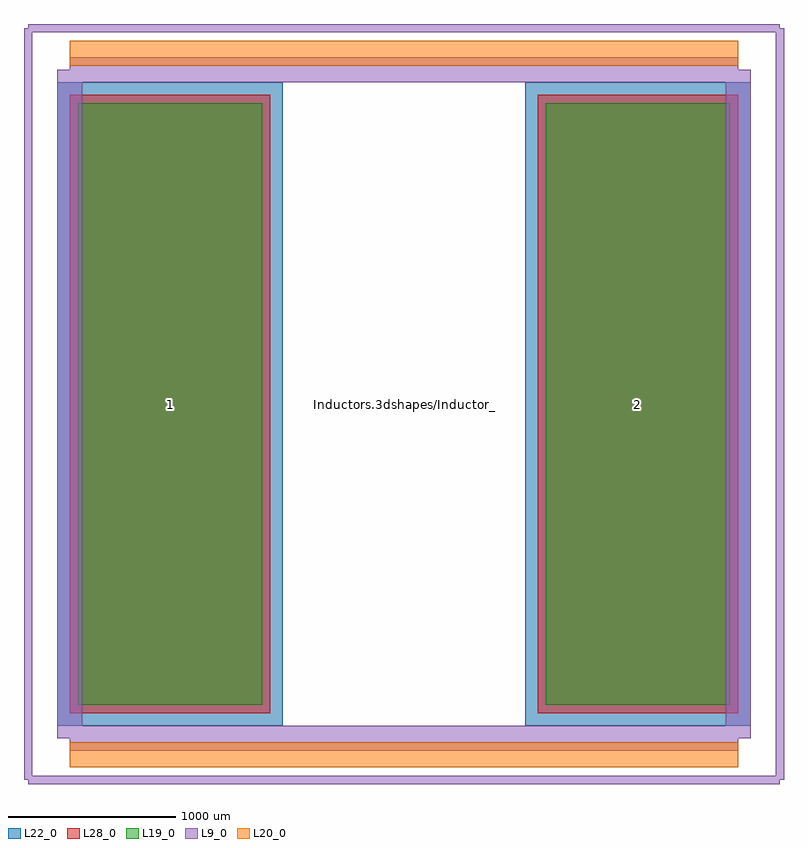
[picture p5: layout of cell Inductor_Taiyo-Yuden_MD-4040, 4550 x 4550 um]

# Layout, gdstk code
import gdstk
lib = gdstk.Library(unit=1e-6, precision=1e-09)
def R(c, l, rs):  # rectangles x0, y0, x1, y1
    for r in rs: c.add(gdstk.rectangle(r[:2], r[2:], *l))
L9_0 = (9, 0)
L19_0 = (19, 0)
L20_0 = (20, 0)
L22_0 = (22, 0)
L28_0 = (28, 0)

inductor_taiyo_yuden_md_ = lib.new_cell('Inductor_Taiyo-Yuden_MD-4040')
R(inductor_taiyo_yuden_md_, L19_0, [(-1950,-1800,-850,1800), (850,-1800,1950,1800)])
R(inductor_taiyo_yuden_md_, L22_0, [(-2075,-1925,-725,1925), (725,-1925,2075,1925)])
R(inductor_taiyo_yuden_md_, L28_0, [(-2000,-1850,-800,1850), (800,-1850,2000,1850)])
inductor_taiyo_yuden_md_.add(gdstk.FlexPath([(2250,2250),(-2250,2250)], 50, ends="flush", simple_path=True, layer=9, datatype=0))  # L9_0
inductor_taiyo_yuden_md_.add(gdstk.FlexPath([(2250,-2250),(2250,2250)], 50, ends="flush", simple_path=True, layer=9, datatype=0))  # L9_0
inductor_taiyo_yuden_md_.add(gdstk.FlexPath([(-2250,-2250),(2250,-2250)], 50, ends="flush", simple_path=True, layer=9, datatype=0))  # L9_0
inductor_taiyo_yuden_md_.add(gdstk.FlexPath([(-2250,2250),(-2250,-2250)], 50, ends="flush", simple_path=True, layer=9, datatype=0))  # L9_0
inductor_taiyo_yuden_md_.add(gdstk.FlexPath([(-2000,-2100),(2000,-2100)], 149.998, ends="flush", simple_path=True, layer=20, datatype=0))  # L20_0
inductor_taiyo_yuden_md_.add(gdstk.FlexPath([(-2000,2100),(2000,2100)], 149.998, ends="flush", simple_path=True, layer=20, datatype=0))  # L20_0
inductor_taiyo_yuden_md_.add(gdstk.FlexPath([(2000,2000),(-2000,2000)], 149.998, ends="flush", simple_path=True, layer=9, datatype=0))  # L9_0
inductor_taiyo_yuden_md_.add(gdstk.FlexPath([(2000,-2000),(2000,2000)], 149.998, ends="flush", simple_path=True, layer=9, datatype=0))  # L9_0
inductor_taiyo_yuden_md_.add(gdstk.FlexPath([(-2000,-2000),(2000,-2000)], 149.998, ends="flush", simple_path=True, layer=9, datatype=0))  # L9_0
inductor_taiyo_yuden_md_.add(gdstk.FlexPath([(-2000,2000),(-2000,-2000)], 149.998, ends="flush", simple_path=True, layer=9, datatype=0))  # L9_0
inductor_taiyo_yuden_md_.add(gdstk.Label('Inductors.3dshapes/Inductor_Taiyo-Yuden_MD-4040.wrl', (0,0), layer=12, texttype=0))
inductor_taiyo_yuden_md_.add(gdstk.Label('2', (1400,0), layer=28, texttype=0))
inductor_taiyo_yuden_md_.add(gdstk.Label('1', (-1400,0), layer=28, texttype=0))
inductor_taiyo_yuden_md_.add(gdstk.Label('type', (0,-3500), layer=9, texttype=0))
inductor_taiyo_yuden_md_.add(gdstk.Label('devicename', (0,3000), layer=9, texttype=0))

lib.write_gds('Inductor_Taiyo-Yuden_MD-4040.gds')
